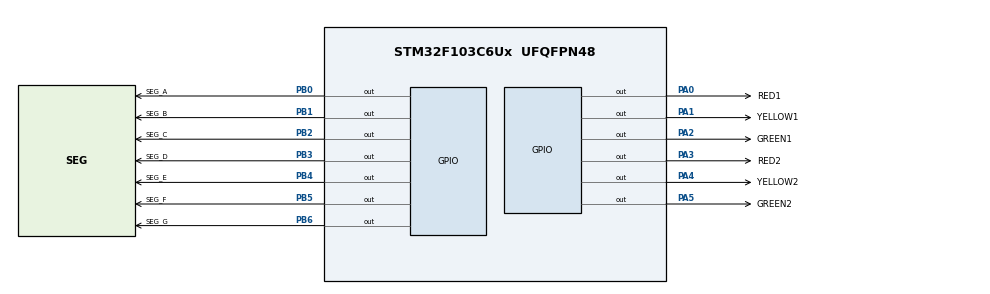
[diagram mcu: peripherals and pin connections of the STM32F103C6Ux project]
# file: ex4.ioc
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Mcu.Family=STM32F1
Mcu.Name=STM32F103C6Ux
Mcu.Package=UFQFPN48
NVIC.PriorityGroup=NVIC_PRIORITYGROUP_4
PA0-WKUP.GPIO_Label=RED1
PA0-WKUP.Signal=GPIO_Output
PA1.GPIO_Label=YELLOW1
PA1.Signal=GPIO_Output
PA2.GPIO_Label=GREEN1
PA2.Signal=GPIO_Output
PA3.GPIO_Label=RED2
PA3.Signal=GPIO_Output
PA4.GPIO_Label=YELLOW2
PA4.Signal=GPIO_Output
PA5.GPIO_Label=GREEN2
PA5.Signal=GPIO_Output
PB0.GPIO_Label=SEG_A
PB0.Signal=GPIO_Output
PB1.GPIO_Label=SEG_B
PB1.Signal=GPIO_Output
PB2.GPIO_Label=SEG_C
PB2.Signal=GPIO_Output
PB3.GPIO_Label=SEG_D
PB3.Signal=GPIO_Output
PB4.GPIO_Label=SEG_E
PB4.Signal=GPIO_Output
PB5.GPIO_Label=SEG_F
PB5.Signal=GPIO_Output
PB6.GPIO_Label=SEG_G
PB6.Signal=GPIO_Output
ProjectManager.HeapSize=0x200
ProjectManager.StackSize=0x400
ProjectManager.TargetToolchain=STM32CubeIDE
RCC.APB1Freq_Value=8000000
RCC.APB2Freq_Value=8000000
VP_SYS_VS_ND.Mode=No_Debug
board=custom

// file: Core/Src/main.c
/* USER CODE BEGIN Header */
/**
  ******************************************************************************
  * @file           : main.c
  * @brief          : Main program body
  ******************************************************************************
  * @attention
  *
  * <h2><center>&copy; Copyright (c) 2026 STMicroelectronics.
  * All rights reserved.</center></h2>
  *
  * This software component is licensed by ST under BSD 3-Clause license,
  * the "License"; You may not use this file except in compliance with the
  * License. You may obtain a copy of the License at:
  *                        opensource.org/licenses/BSD-3-Clause
  *
  ******************************************************************************
  */
/* USER CODE END Header */
#include "main.h"

void SystemClock_Config(void);
static void MX_GPIO_Init(void);

/* USER CODE BEGIN 0 */
/* Helper function to set Traffic Light Set 1 (e.g., North-South) */
void setLight1(GPIO_PinState r, GPIO_PinState y, GPIO_PinState g) {
    HAL_GPIO_WritePin(GPIOA, RED1_Pin, (GPIO_PinState)!r);
    HAL_GPIO_WritePin(GPIOA, YELLOW1_Pin, (GPIO_PinState)!y);
    HAL_GPIO_WritePin(GPIOA, GREEN1_Pin, (GPIO_PinState)!g);
}

/* Helper function to set Traffic Light Set 2 (e.g., East-West) */
void setLight2(GPIO_PinState r, GPIO_PinState y, GPIO_PinState g) {
    HAL_GPIO_WritePin(GPIOA, RED2_Pin, (GPIO_PinState)!r);
    HAL_GPIO_WritePin(GPIOA, YELLOW2_Pin, (GPIO_PinState)!y);
    HAL_GPIO_WritePin(GPIOA, GREEN2_Pin, (GPIO_PinState)!g);
}
void display7SEG(int num) {
    const uint16_t segPins[7] = {
        SEG_A_Pin, SEG_B_Pin, SEG_C_Pin, SEG_D_Pin, SEG_E_Pin, SEG_F_Pin, SEG_G_Pin
    };

    const uint8_t segOn[10][7] = {
        {1,1,1,1,1,1,0}, // 0
        {0,1,1,0,0,0,0}, // 1
        {1,1,0,1,1,0,1}, // 2
        {1,1,1,1,0,0,1}, // 3
        {0,1,1,0,0,1,1}, // 4
        {1,0,1,1,0,1,1}, // 5
        {1,0,1,1,1,1,1}, // 6
        {1,1,1,0,0,0,0}, // 7
        {1,1,1,1,1,1,1}, // 8
        {1,1,1,1,0,1,1}  // 9
    };

    if (num < 0 || num > 9) return;

    for (int i = 0; i < 7; i++) {
        HAL_GPIO_WritePin(GPIOB, segPins[i], segOn[num][i] ? GPIO_PIN_RESET : GPIO_PIN_SET);
    }
}
void ex3(void) {
	/* Phase 1: Direction 1 GREEN, Direction 2 RED (3s) */
	  setLight1(GPIO_PIN_RESET, GPIO_PIN_RESET, GPIO_PIN_SET);
	  setLight2(GPIO_PIN_SET, GPIO_PIN_RESET, GPIO_PIN_RESET);
	  HAL_Delay(3000);

	  /* Phase 2: Direction 1 YELLOW, Direction 2 RED (2s) */
	  setLight1(GPIO_PIN_RESET, GPIO_PIN_SET, GPIO_PIN_RESET);
	  HAL_Delay(2000);

	  /* Phase 3: Direction 1 RED, Direction 2 GREEN (3s) */
	  setLight1(GPIO_PIN_SET, GPIO_PIN_RESET, GPIO_PIN_RESET);
	  setLight2(GPIO_PIN_RESET, GPIO_PIN_RESET, GPIO_PIN_SET);
	  HAL_Delay(3000);

	  /* Phase 4: Direction 1 RED, Direction 2 YELLOW (2s) */
	  setLight2(GPIO_PIN_RESET, GPIO_PIN_SET, GPIO_PIN_RESET);
	  HAL_Delay(2000);
}
void ex4(void) {
    int counter = 0;
    while (1) {
        if (counter >= 10) counter = 0;
        display7SEG(counter++);
        HAL_Delay(1000);
    }
}
/* USER CODE END 0 */

int main(void)
{

  /* MCU Configuration--------------------------------------------------------*/

  /* Reset of all peripherals, Initializes the Flash interface and the Systick. */
  HAL_Init();

  /* Configure the system clock */
  SystemClock_Config();

  /* Initialize all configured peripherals */
  MX_GPIO_Init();

  /* Infinite loop */
  while (1)
  {

    /* USER CODE BEGIN 3 */
	  ex4();
  }
  /* USER CODE END 3 */
}

void SystemClock_Config(void)
{
  RCC_OscInitTypeDef RCC_OscInitStruct = {0};
  RCC_ClkInitTypeDef RCC_ClkInitStruct = {0};

  /** Initializes the RCC Oscillators according to the specified parameters
  * in the RCC_OscInitTypeDef structure.
  */
  RCC_OscInitStruct.OscillatorType = RCC_OSCILLATORTYPE_HSI;
  RCC_OscInitStruct.HSIState = RCC_HSI_ON;
  RCC_OscInitStruct.HSICalibrationValue = RCC_HSICALIBRATION_DEFAULT;
  RCC_OscInitStruct.PLL.PLLState = RCC_PLL_NONE;
  if (HAL_RCC_OscConfig(&RCC_OscInitStruct) != HAL_OK)
  {
    Error_Handler();
  }
  /** Initializes the CPU, AHB and APB buses clocks
  */
  RCC_ClkInitStruct.ClockType = RCC_CLOCKTYPE_HCLK|RCC_CLOCKTYPE_SYSCLK
                              |RCC_CLOCKTYPE_PCLK1|RCC_CLOCKTYPE_PCLK2;
  RCC_ClkInitStruct.SYSCLKSource = RCC_SYSCLKSOURCE_HSI;
  RCC_ClkInitStruct.AHBCLKDivider = RCC_SYSCLK_DIV1;
  RCC_ClkInitStruct.APB1CLKDivider = RCC_HCLK_DIV1;
  RCC_ClkInitStruct.APB2CLKDivider = RCC_HCLK_DIV1;

  if (HAL_RCC_ClockConfig(&RCC_ClkInitStruct, FLASH_LATENCY_0) != HAL_OK)
  {
    Error_Handler();
  }
}

static void MX_GPIO_Init(void)
{
  GPIO_InitTypeDef GPIO_InitStruct = {0};

  /* GPIO Ports Clock Enable */
  __HAL_RCC_GPIOA_CLK_ENABLE();
  __HAL_RCC_GPIOB_CLK_ENABLE();

  /*Configure GPIO pin Output Level */
  HAL_GPIO_WritePin(GPIOA, RED1_Pin|YELLOW1_Pin|GREEN1_Pin|RED2_Pin
                          |YELLOW2_Pin|GREEN2_Pin, GPIO_PIN_RESET);

  /*Configure GPIO pin Output Level */
  HAL_GPIO_WritePin(GPIOB, SEG_A_Pin|SEG_B_Pin|SEG_C_Pin|SEG_D_Pin
                          |SEG_E_Pin|SEG_F_Pin|SEG_G_Pin, GPIO_PIN_RESET);

  /*Configure GPIO pins : RED1_Pin YELLOW1_Pin GREEN1_Pin RED2_Pin
                           YELLOW2_Pin GREEN2_Pin */
  GPIO_InitStruct.Pin = RED1_Pin|YELLOW1_Pin|GREEN1_Pin|RED2_Pin
                          |YELLOW2_Pin|GREEN2_Pin;
  GPIO_InitStruct.Mode = GPIO_MODE_OUTPUT_PP;
  GPIO_InitStruct.Pull = GPIO_NOPULL;
  GPIO_InitStruct.Speed = GPIO_SPEED_FREQ_LOW;
  HAL_GPIO_Init(GPIOA, &GPIO_InitStruct);

  /*Configure GPIO pins : SEG_A_Pin SEG_B_Pin SEG_C_Pin SEG_D_Pin
                           SEG_E_Pin SEG_F_Pin SEG_G_Pin */
  GPIO_InitStruct.Pin = SEG_A_Pin|SEG_B_Pin|SEG_C_Pin|SEG_D_Pin
                          |SEG_E_Pin|SEG_F_Pin|SEG_G_Pin;
  GPIO_InitStruct.Mode = GPIO_MODE_OUTPUT_PP;
  GPIO_InitStruct.Pull = GPIO_NOPULL;
  GPIO_InitStruct.Speed = GPIO_SPEED_FREQ_LOW;
  HAL_GPIO_Init(GPIOB, &GPIO_InitStruct);

}

void Error_Handler(void)
{
  __disable_irq();
  while (1)
  {
  }
}

/************************ (C) COPYRIGHT STMicroelectronics *****END OF FILE****/
